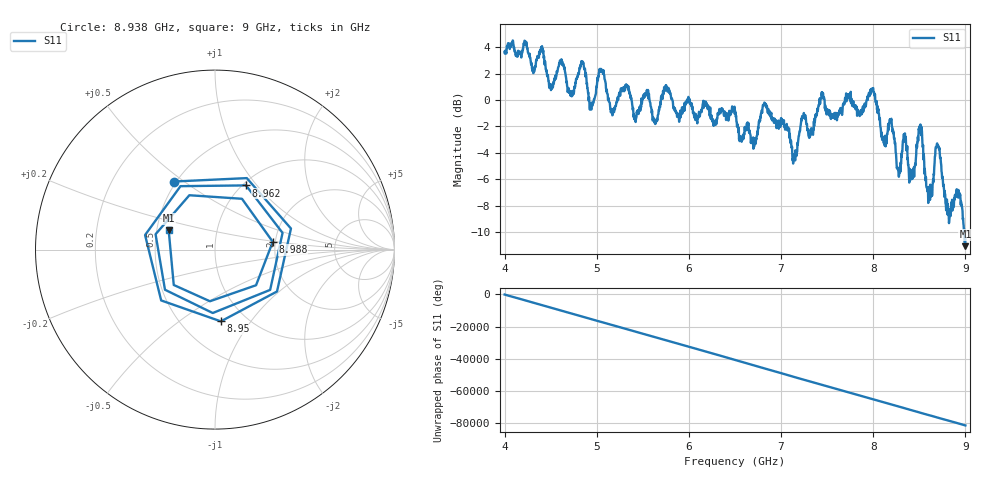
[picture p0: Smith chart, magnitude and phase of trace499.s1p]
! Created with skrf 1.8.0 (http://scikit-rf.org).
# Hz S RI R 50.0
!freq ReS11 ImS11
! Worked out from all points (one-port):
!   1601 points, 4 GHz to 9 GHz, reference 50 ohm
!   lowest |S11| = -11.1 dB at 9 GHz (marker M1), VSWR 1.78, Z = 28.9 + j6.8 ohm
!   |S11| at or under -10 dB: 8.98915 GHz to end of sweep
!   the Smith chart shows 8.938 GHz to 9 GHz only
!   S11 on the Smith chart (normalised r, x): 8.938 GHz: 0.48, +0.46; 8.95 GHz: 0.77, -0.73; 8.962 GHz: 1.04, +0.88; 8.988 GHz: 1.94, +0.19; 9 GHz: 0.58, +0.14
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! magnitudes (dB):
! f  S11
! 4 GHz  3.6
! 4.506 GHz  0.9
! 4.625 GHz  2.9
! 4.725 GHz  0.3
! 4.847 GHz  2.9
! 4.938 GHz  -0.5
! 5.047 GHz  2.1
! 5.162 GHz  -0.8
! 5.25 GHz  0.6
! 5.875 GHz  -1.0
! 6.5 GHz  -0.8
! 6.706 GHz  -3.5
! 6.828 GHz  -0.3
! 7.125 GHz  -4.6
! 7.444 GHz  0.3
! 7.75 GHz  0.0
! 7.994 GHz  0.9
! 8.275 GHz  -5.6
! 8.375 GHz  -4.4
! 8.509 GHz  -2.1
! 8.603 GHz  -6.6
! 8.697 GHz  -3.4
! 8.809 GHz  -7.9
! 8.938 GHz  -7.1
! 8.95 GHz  -7.9
! 8.962 GHz  -8.0
! 8.988 GHz  -9.8
! 9 GHz  -11.1
